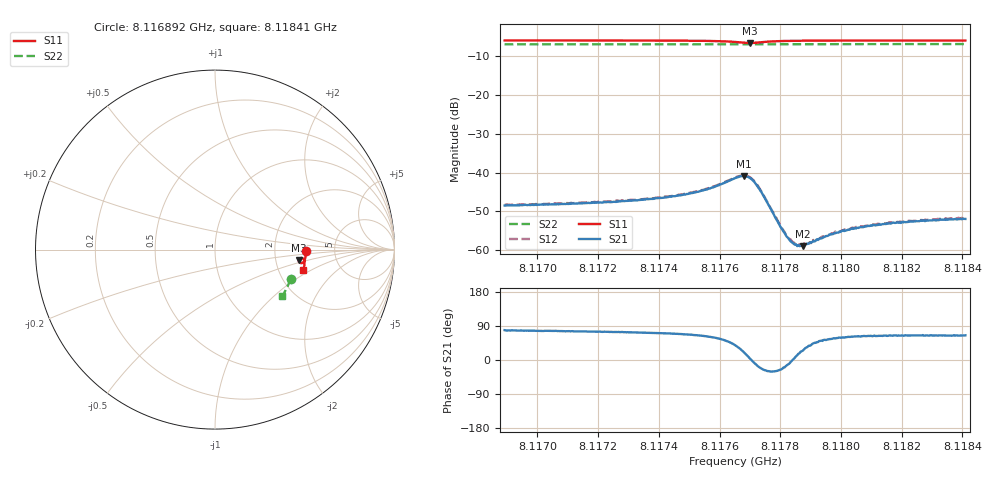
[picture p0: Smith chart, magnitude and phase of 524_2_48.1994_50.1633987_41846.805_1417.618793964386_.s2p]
#  HZ  S  RI  R  50.00
! Rohde & Schwarz Vector Network Analyzer
! Rohde-Schwarz,ZNB20-2Port,1311601062101988,3.16
! Created: UTC 3/20/2024, 11:59:36 AM
! freq[Hz]  re:S11  im:S11  re:S21  im:S21  re:S12  im:S12  re:S22  im:S22
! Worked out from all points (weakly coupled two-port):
!   401 points, 8.116892 GHz to 8.11841 GHz, reference 50 ohm
!   highest |S21| = -40.87 dB at 8.117681 GHz (marker M1); lowest = -59.0 dB at 8.117875 GHz (marker M2)
!   lowest |S11| = -6.6 dB at 8.1177 GHz (marker M3), VSWR 2.77, Z = 135 - j20.2 ohm
!   |S11| at or under -10 dB: nowhere
!   |S22| runs from -6.9 to -6.8 dB; largest |S21 - S12| = 0.00025
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8.1168922e9  0.5066 -0.00745  0.000735 0.00369  0.000793 0.00376  0.4212 -0.1612
8.1171464e9  0.5056 -0.0275  0.00102 0.00389  0.00105 0.00397  0.4152 -0.1779
8.1174006e9  0.5025 -0.049  0.00154 0.00443  0.00158 0.00449  0.4086 -0.1945
8.1174802e9  0.5005 -0.0569  0.00194 0.0048  0.002 0.00485  0.4062 -0.1996
8.1175371e9  0.4979 -0.0634  0.00249 0.00522  0.00258 0.00528  0.4045 -0.2034
8.117594e9  0.4924 -0.0708  0.00368 0.00572  0.00378 0.00582  0.4025 -0.2071
8.1176509e9  0.4786 -0.0755  0.00656 0.00536  0.00673 0.00545  0.4002 -0.2107
8.1176813e9  0.4677 -0.0685  0.00852 0.00303  0.00871 0.00307  0.399 -0.212
8.1177002e9  0.4658 -0.0585  0.00849 0.000555  0.00872 0.000508  0.3984 -0.2128
8.1177154e9  0.4696 -0.0511  0.00741 -0.00111  0.00756 -0.00116  0.3983 -0.2132
8.1177306e9  0.476 -0.0472  0.00585 -0.00201  0.006 -0.00207  0.3981 -0.2141
8.1178027e9  0.4948 -0.0549  0.00177 -0.000811  0.00184 -0.000867  0.3967 -0.2189
8.1178254e9  0.4967 -0.0587  0.00141 -0.000291  0.00143 -0.000329  0.3961 -0.2205
8.1178406e9  0.4975 -0.061  0.00124 4.09e-06  0.00128 1.05e-05  0.3958 -0.2215
8.117852e9  0.4979 -0.0625  0.00117 0.000205  0.00117 0.000176  0.3953 -0.2223
8.1178747e9  0.4985 -0.0656  0.00102 0.000474  0.00106 0.000498  0.3946 -0.2238
8.1179051e9  0.4989 -0.0694  0.000937 0.000855  0.00098 0.000835  0.3937 -0.2255
8.1179582e9  0.4988 -0.0751  0.000892 0.00125  0.00091 0.00128  0.3921 -0.2291
8.1180113e9  0.4985 -0.0803  0.000902 0.00151  0.000949 0.00158  0.3902 -0.2324
8.118091e9  0.4976 -0.0872  0.000911 0.00184  0.000938 0.00186  0.3875 -0.2374
8.1181593e9  0.4966 -0.0931  0.000936 0.002  0.00102 0.00205  0.3853 -0.2415
8.1184096e9  0.4927 -0.1128  0.00106 0.00229  0.00113 0.00231  0.376 -0.2567
